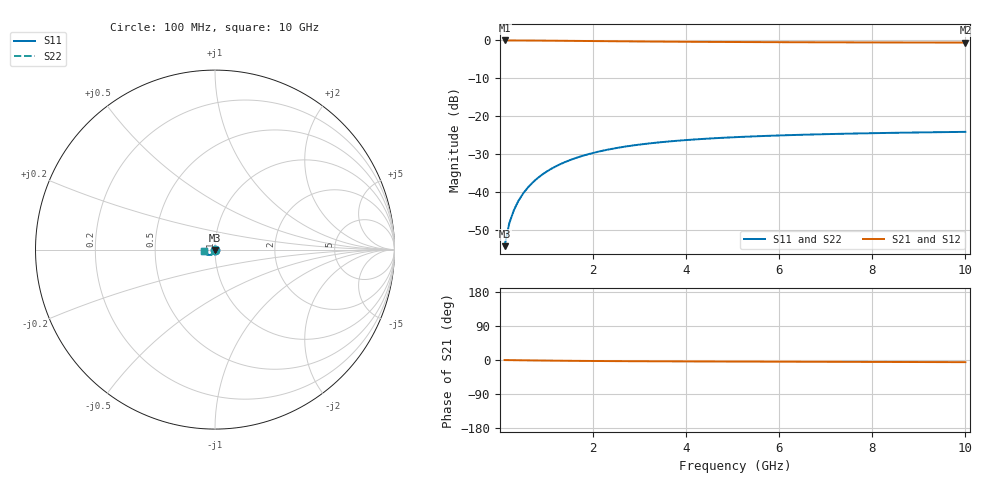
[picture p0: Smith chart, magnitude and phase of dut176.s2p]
! Touchstone file exported from HFSS 2024.1.0
!  File:  C:/UserFiles/LocalFiles/RDL_TSV_Batchsim/temp_TSV1_176_1778756133.aedt
!  Generated:  06:58:46 PM May 14, 2026
!  Design:  TSV1
!  Project:  temp_TSV1_176_1778756133
!  Setup:  Setup1
!  Solution:  Sweep
! Variables:
!  dtsv = 14.22um
!  hbump = 3um
!  htsv = 88.19um
!  lrdl = 252.1521522um
!  p = 40
!  p1 = 56.03um
!  t = 500um
!  trdl = 3um
!  wrdl = 24.89489489um
# GHz S MA R 50.000000
! Terminal data exported
! Port[1] = TSV22_T1
! Port[2] = TSV22_T2
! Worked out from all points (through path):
!   100 points, 100 MHz to 10 GHz, reference 50 ohm
!   highest |S21| = 0.00 dB at 100 MHz (marker M1); lowest = -0.6 dB at 10 GHz (marker M2)
!   lowest |S11| = -54.2 dB at 100 MHz (marker M3), VSWR 1.00, Z = 50 - j0.195 ohm
!   |S11| at or under -10 dB: start of sweep to end of sweep
!   |S22| runs from -54.2 to -24.1 dB; largest |S21 - S12| = 4.5e-15
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0.1  0.001946 -89.4  0.9998 -0.2  0.9998 -0.2  0.001946 -89.4
! Gamma 0 0 0 0
! Port Impedance 50 0 50 0
0.2  0.003891 -92.4  0.9996 -0.3  0.9996 -0.3  0.003891 -92.4
0.3  0.00583 -94.7  0.9993 -0.5  0.9993 -0.5  0.00583 -94.7
0.4  0.007757 -96.8  0.9988 -0.7  0.9988 -0.7  0.007757 -96.8
0.5  0.009661 -98.8  0.9982 -0.8  0.9982 -0.8  0.009661 -98.8
0.6  0.01154 -100.7  0.9976 -1.0  0.9976 -1.0  0.01154 -100.7
0.7  0.01338 -102.7  0.9968 -1.1  0.9968 -1.1  0.01338 -102.7
0.8  0.01518 -104.5  0.9959 -1.3  0.9959 -1.3  0.01518 -104.5
0.9  0.01694 -106.4  0.995 -1.4  0.995 -1.4  0.01694 -106.4
1.1  0.02031 -109.9  0.9929 -1.7  0.9929 -1.7  0.02031 -109.9
1.4  0.025 -114.9  0.9894 -2.0  0.9894 -2.0  0.025 -114.9
1.6  0.02785 -118.1  0.9869 -2.2  0.9869 -2.2  0.02785 -118.1
1.8  0.03049 -121.0  0.9843 -2.4  0.9843 -2.4  0.03049 -121.0
2.1  0.03408 -125.1  0.9805 -2.7  0.9805 -2.7  0.03408 -125.1
2.5  0.03819 -130.1  0.9756 -3.0  0.9756 -3.0  0.03819 -130.1
2.9  0.04166 -134.5  0.9711 -3.2  0.9711 -3.2  0.04166 -134.5
3.4  0.04525 -139.3  0.9661 -3.5  0.9661 -3.5  0.04525 -139.3
4.2  0.04967 -145.7  0.9593 -3.8  0.9593 -3.8  0.04967 -145.7
5.1  0.0533 -151.5  0.9534 -4.1  0.9534 -4.1  0.0533 -151.5
6.7  0.05764 -159.6  0.9461 -4.6  0.9461 -4.6  0.05764 -159.6
8.4  0.06056 -166.2  0.9409 -5.2  0.9409 -5.2  0.06056 -166.2
10  0.06245 -171.2  0.9377 -5.7  0.9377 -5.7  0.06245 -171.2
